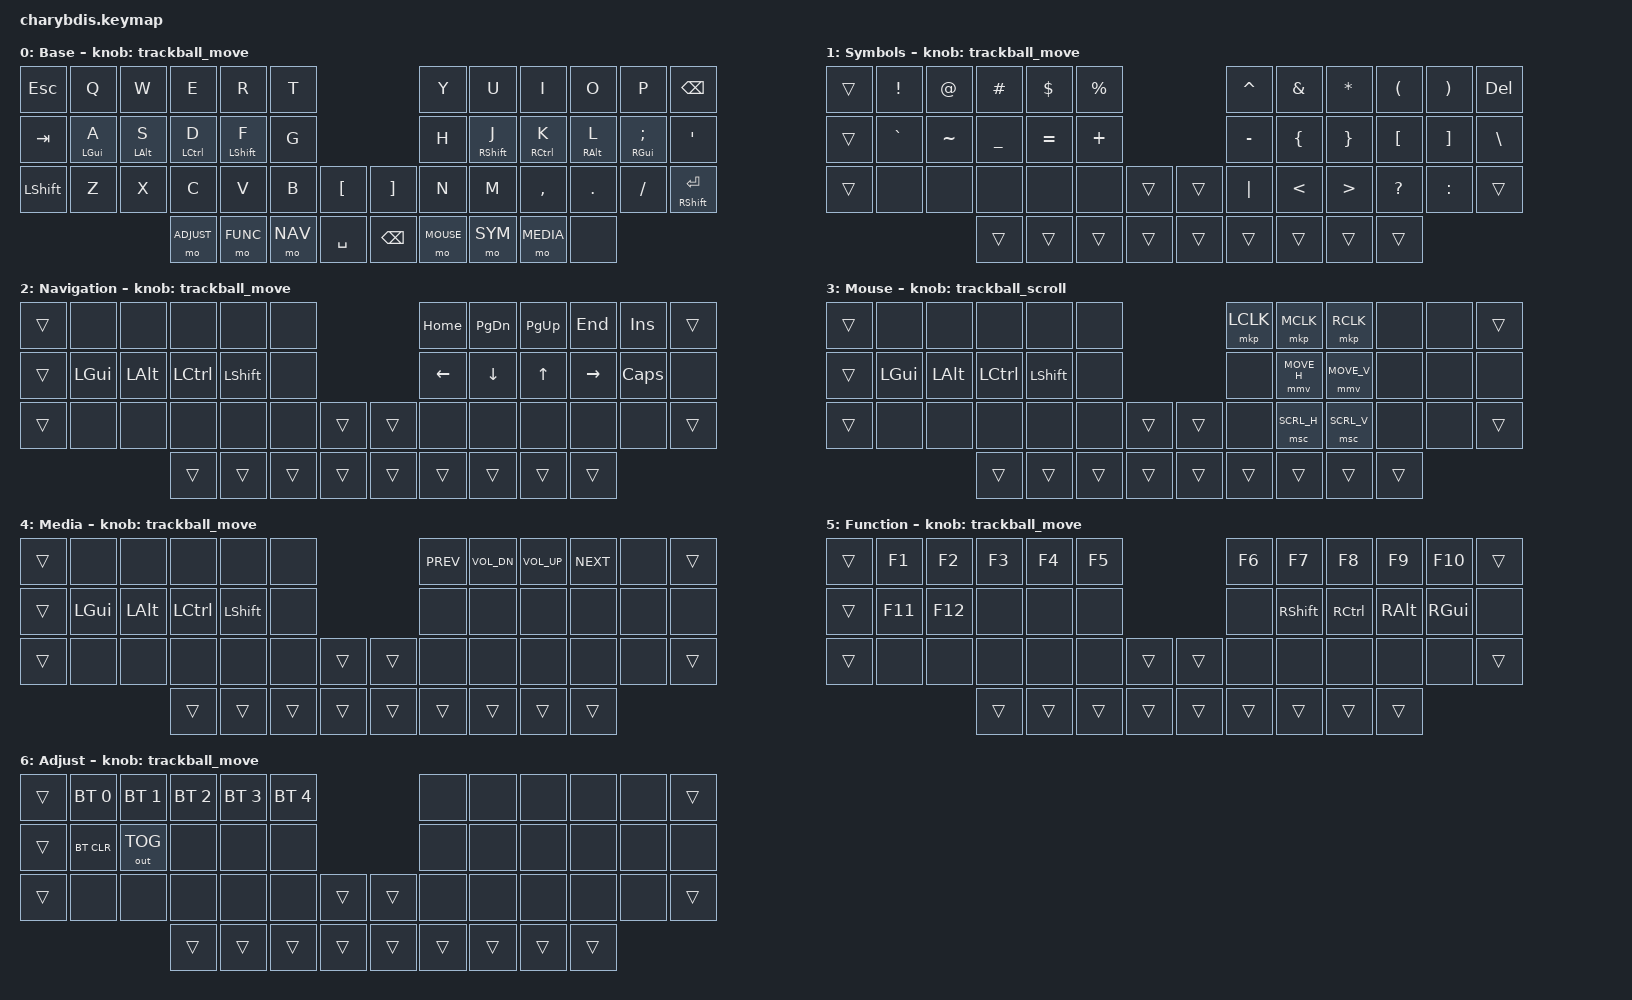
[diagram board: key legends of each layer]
/*
 * Copyright (c) 2022 The ZMK Contributors
 *
 * SPDX-License-Identifier: MIT
 */

#include <behaviors.dtsi>
#include <dt-bindings/zmk/keys.h>
#include <dt-bindings/zmk/bt.h>
#include <dt-bindings/zmk/outputs.h>
#include <dt-bindings/zmk/mouse.h>

#define DEFAULT 0
#define SYM     1
#define NAV     2
#define MOUSE   3
#define MEDIA   4
#define FUNC    5
#define ADJUST  6

// Keeping this around in case we need it
// #define MOVE_EXPONENT 4
// #define ACCEL_EXPONENT 1

&mmv {
    time-to-max-speed-ms = <500>;
    acceleration-exponent = <1>;
};

&msc {
    acceleration-exponent = <1>;
};

/ {
    behaviors {
        hm: homerow_mods {
            compatible = "zmk,behavior-hold-tap";
            label = "HOMEROW_MODS";
            #binding-cells = <2>;
            tapping-term-ms = <200>;
            quick-tap-ms = <0>;
            flavor = "tap-preferred";
            bindings = <&kp>, <&kp>;
        };
        
        mt_s: mod_tap_sticky {
            compatible = "zmk,behavior-hold-tap";
            label = "MOD_TAP_STICKY";
            #binding-cells = <2>;
            flavor = "hold-preferred";
            tapping-term-ms = <200>;
            bindings = <&kp>, <&sk>;
        };
        
        trackball_scroll: trackball_scroll {
            compatible = "zmk,behavior-sensor-rotate";
            label = "TRACKBALL_SCROLL";
            #sensor-binding-cells = <0>;
            bindings = <&msc SCROLL_DOWN>, <&msc SCROLL_UP>;
        };
        
        trackball_move: trackball_move {
            compatible = "zmk,behavior-sensor-rotate";
            label = "TRACKBALL_MOVE";
            #sensor-binding-cells = <0>;
            bindings = <&mmv MOVE_DOWN>, <&mmv MOVE_UP>;
        };
    };

    // Layers
    keymap {
        compatible = "zmk,keymap";

        default_layer {
            label = "Base";
            bindings = <
&kp ESC    &kp Q      &kp W      &kp E       &kp R       &kp T                      &kp Y       &kp U       &kp I       &kp O      &kp P          &kp BSPC
&kp TAB    &hm LGUI A &hm LALT S &hm LCTRL D &hm LSHFT F &kp G                      &kp H       &hm RSHFT J &hm RCTRL K &hm RALT L &hm RGUI SEMI  &kp SQT
&kp LSHFT  &kp Z      &kp X      &kp C       &kp V       &kp B   &kp LBKT  &kp RBKT &kp N       &kp M       &kp COMMA   &kp DOT    &kp FSLH       &mt RSHFT RET
                                 &mo ADJUST   &mo FUNC    &mo NAV &kp SPACE &kp BSPC &mo MOUSE   &mo SYM     &mo MEDIA   &none
            >;

            sensor-bindings = <&trackball_move>;
        };

        sym_layer {
            label = "Symbols";
            bindings = <
&trans     &kp EXCL   &kp AT     &kp HASH    &kp DLLR    &kp PRCNT                   &kp CARET   &kp AMPS    &kp ASTRK   &kp LPAR   &kp RPAR        &kp DEL
&trans     &kp GRAVE  &kp TILDE  &kp UNDER   &kp EQUAL   &kp PLUS                    &kp MINUS   &kp LBRC    &kp RBRC    &kp LBKT   &kp RBKT        &kp BSLH
&trans     &none      &none      &none       &none       &none     &trans    &trans  &kp PIPE    &kp LT      &kp GT      &kp QMARK  &kp COLON       &trans
                                 &trans      &trans      &trans    &trans    &trans  &trans      &trans      &trans      &trans
            >;

            sensor-bindings = <&trackball_move>;
        };

        nav_layer {
            label = "Navigation";
            bindings = <
&trans     &none      &none      &none       &none       &none                      &kp HOME    &kp PG_DN   &kp PG_UP   &kp END    &kp INS         &trans
&trans     &kp LGUI   &kp LALT   &kp LCTRL   &kp LSHFT   &none                     &kp LEFT    &kp DOWN    &kp UP      &kp RIGHT  &kp CAPS        &none
&trans     &none      &none      &none       &none       &none     &trans   &trans  &none       &none       &none       &none      &none           &trans
                                 &trans      &trans      &trans    &trans   &trans  &trans      &trans      &trans      &trans
            >;

            sensor-bindings = <&trackball_move>;
        };

        mouse_layer {
            label = "Mouse";
            bindings = <
&trans     &none      &none      &none       &none       &none                      &mkp LCLK   &mkp MCLK   &mkp RCLK   &none      &none           &trans
&trans     &kp LGUI   &kp LALT   &kp LCTRL   &kp LSHFT   &none                     &none       &mmv MOVE_H &mmv MOVE_V &none      &none           &none
&trans     &none      &none      &none       &none       &none     &trans   &trans  &none       &msc SCRL_H &msc SCRL_V &none      &none           &trans
                                 &trans      &trans      &trans    &trans   &trans  &trans      &trans      &trans      &trans
            >;

            sensor-bindings = <&trackball_scroll>;
        };

        media_layer {
            label = "Media";
            bindings = <
&trans     &none      &none      &none       &none       &none                      &kp C_PREV  &kp C_VOL_DN &kp C_VOL_UP &kp C_NEXT &none           &trans
&trans     &kp LGUI   &kp LALT   &kp LCTRL   &kp LSHFT   &none                     &none       &none        &none        &none      &none           &none
&trans     &none      &none      &none       &none       &none     &trans   &trans  &none       &none        &none        &none      &none           &trans
                                 &trans      &trans      &trans    &trans   &trans  &trans      &trans       &trans       &trans
            >;

            sensor-bindings = <&trackball_move>;
        };

        func_layer {
            label = "Function";
            bindings = <
&trans     &kp F1     &kp F2     &kp F3      &kp F4      &kp F5                     &kp F6      &kp F7      &kp F8      &kp F9     &kp F10         &trans
&trans     &kp F11    &kp F12    &none       &none       &none                      &none       &kp RSHFT   &kp RCTRL   &kp RALT   &kp RGUI        &none
&trans     &none      &none      &none       &none       &none     &trans   &trans  &none       &none       &none       &none      &none           &trans
                                 &trans      &trans      &trans    &trans   &trans  &trans      &trans      &trans      &trans
            >;

            sensor-bindings = <&trackball_move>;
        };

        adjust_layer {
            label = "Adjust";
            bindings = <
&trans     &bt BT_SEL 0 &bt BT_SEL 1 &bt BT_SEL 2 &bt BT_SEL 3 &bt BT_SEL 4                 &none       &none       &none       &none      &none           &trans
&trans     &bt BT_CLR   &out OUT_TOG &none        &none        &none                         &none       &none       &none       &none      &none           &none
&trans     &none        &none        &none        &none        &none        &trans   &trans  &none       &none       &none       &none      &none           &trans
                                     &trans       &trans       &trans       &trans   &trans  &trans      &trans      &trans      &trans
            >;

            sensor-bindings = <&trackball_move>;
        };
    };
};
